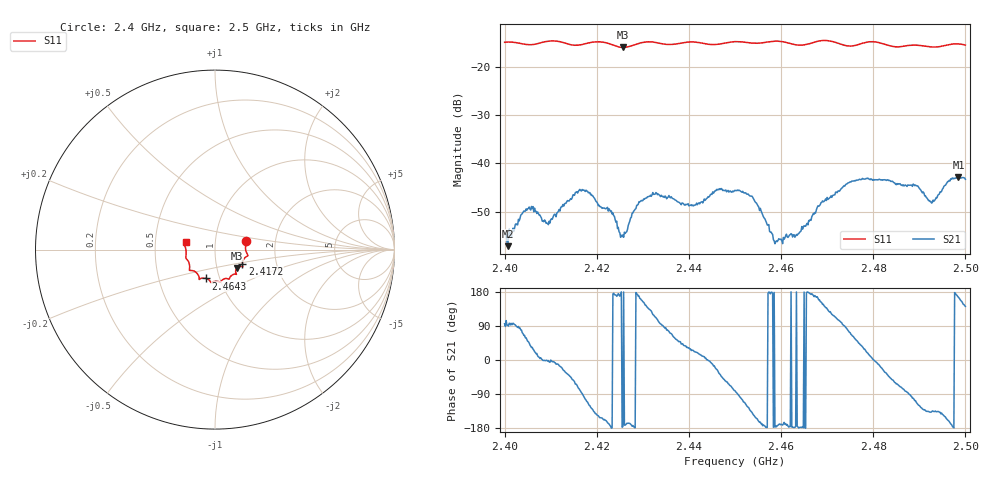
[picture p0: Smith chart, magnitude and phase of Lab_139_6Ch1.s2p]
# Hz S RI R 50
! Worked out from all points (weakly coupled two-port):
!   601 points, 2.4 GHz to 2.5 GHz, reference 50 ohm
!   highest |S21| = -42.88 dB at 2.4985 GHz (marker M1); lowest = -57.2 dB at 2.4007 GHz (marker M2)
!   lowest |S11| = -15.9 dB at 2.4257 GHz (marker M3), VSWR 1.38, Z = 62.4 - j13.1 ohm
!   |S11| at or under -10 dB: start of sweep to end of sweep
!   S12 and S22 are empty: the file has one direction only
!   S11 on the Smith chart (normalised r, x): 2.4 GHz: 1.41, +0.15; 2.4172 GHz: 1.34, -0.22; 2.4643 GHz: 0.86, -0.28; 2.5 GHz: 0.72, +0.06
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2.4e9  0.1733 0.05  -0.000189 0.00192  0 0  0 0
2.400667e9  0.1755 0.0469  -3.61e-05 0.00139  0 0  0 0
2.404833e9  0.1702 0.0151  0.00194 0.00264  0 0  0 0
2.4095e9  0.1827 -0.0312  0.00232 -5.71e-05  0 0  0 0
2.416667e9  0.1532 -0.0746  0.000335 -0.00517  0 0  0 0
2.417167e9  0.1526 -0.0804  -0.000555 -0.00527  0 0  0 0
2.423167e9  0.1436 -0.0936  -0.00322 -1.29e-05  0 0  0 0
2.425667e9  0.1223 -0.1024  -0.00181 -0.000136  0 0  0 0
2.429167e9  0.1162 -0.132  -0.00393 0.000788  0 0  0 0
2.433333e9  0.1128 -0.1366  -0.00105 0.0047  0 0  0 0
2.4405e9  0.0791 -0.1641  0.00338 0.00158  0 0  0 0
2.45e9  0.0297 -0.1809  0.000817 -0.0052  0 0  0 0
2.454e9  0.01 -0.1761  -0.00353 -0.00248  0 0  0 0
2.458833e9  -0.021 -0.1841  -0.00153 -0.000154  0 0  0 0
2.464333e9  -0.0501 -0.1607  -0.00199 -8.18e-05  0 0  0 0
2.466667e9  -0.0763 -0.1601  -0.0028 0.000241  0 0  0 0
2.475e9  -0.1062 -0.1261  0.00199 0.00612  0 0  0 0
2.483333e9  -0.1413 -0.0895  0.00488 -0.00451  0 0  0 0
2.489167e9  -0.1623 -0.0451  -0.00177 -0.0057  0 0  0 0
2.492833e9  -0.1602 -0.0158  -0.00275 -0.00281  0 0  0 0
2.4985e9  -0.1701 0.0337  -0.00695 0.0018  0 0  0 0
2.5e9  -0.1636 0.0419  -0.00535 0.00427  0 0  0 0
